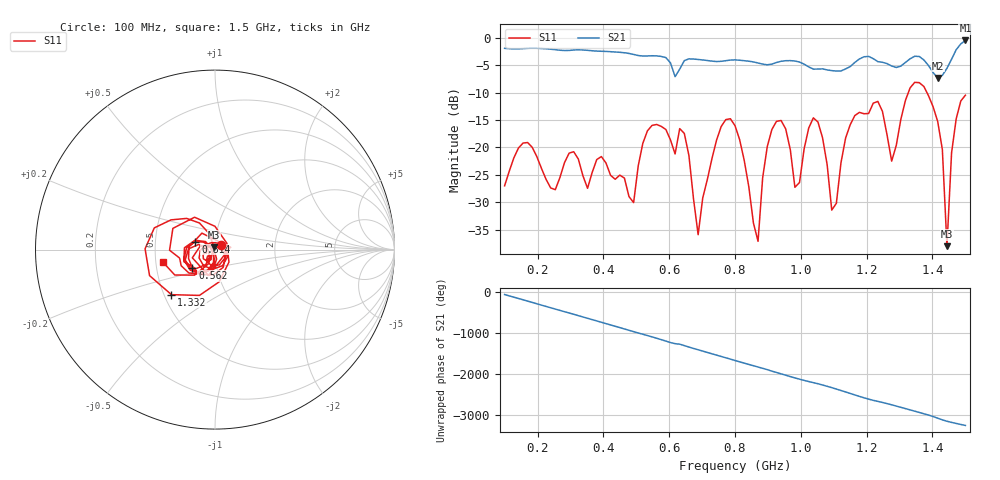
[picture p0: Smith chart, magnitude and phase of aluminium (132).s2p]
! NanoVNA-App
! Date: 2025-09-25 14:56:18
! Start: 100MHz Stop: 1,5GHz Points: 101
! S-Parameter data: F S11 S21 S12 S22
# Hz S RI R 50
!  Frequency  S11_Real  S11_Imag  S21_Real  S21_Imag  S12_Real  S12_Imag  S22_Real  S22_Imag
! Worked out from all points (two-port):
!   101 points, 100 MHz to 1.5 GHz, reference 50 ohm
!   highest |S21| = -0.49 dB at 1.5 GHz (marker M1); lowest = -7.3 dB at 1.416 GHz (marker M2)
!   |S21| within 3 dB of the highest: start of sweep to 581.6 MHz; 1.461 GHz to end of sweep (the widest 2 of 4)
!   lowest |S11| = -38.0 dB at 1.444 GHz (marker M3), VSWR 1.03, Z = 49.6 + j1.18 ohm
!   |S11| at or under -10 dB: start of sweep to 1.327 GHz; 1.383 GHz to end of sweep
!   S12 and S22 are empty: the file has one direction only
!   S11 on the Smith chart (normalised r, x): 100 MHz: 1.07, +0.06; 562 MHz: 0.76, -0.16; 814 MHz: 0.80, +0.07; 1.332 GHz: 0.55, -0.31; 1.5 GHz: 0.54, -0.08
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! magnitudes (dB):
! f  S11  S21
! 100 MHz  -27.0  -1.9
! 338 MHz  -25.2  -2.2
! 492 MHz  -30.1  -3.0
! 562 MHz  -15.8  -3.3
! 576 MHz  -16.2  -3.4
! 646 MHz  -17.4  -4.2
! 688 MHz  -35.9  -4.0
! 800 MHz  -16.0  -4.0
! 814 MHz  -18.6  -4.1
! 870 MHz  -37.1  -4.6
! 912 MHz  -16.7  -4.8
! 982 MHz  -27.3  -4.2
! 1.038 GHz  -14.6  -5.7
! 1.094 GHz  -31.4  -6.0
! 1.164 GHz  -14.2  -4.5
! 1.234 GHz  -11.6  -4.4
! 1.276 GHz  -22.5  -5.1
! 1.332 GHz  -9.1  -3.8
! 1.416 GHz  -15.3  -7.3
! 1.444 GHz  -38.0  -5.6
! 1.458 GHz  -21.0  -3.9
! 1.5 GHz  -10.5  -0.5
